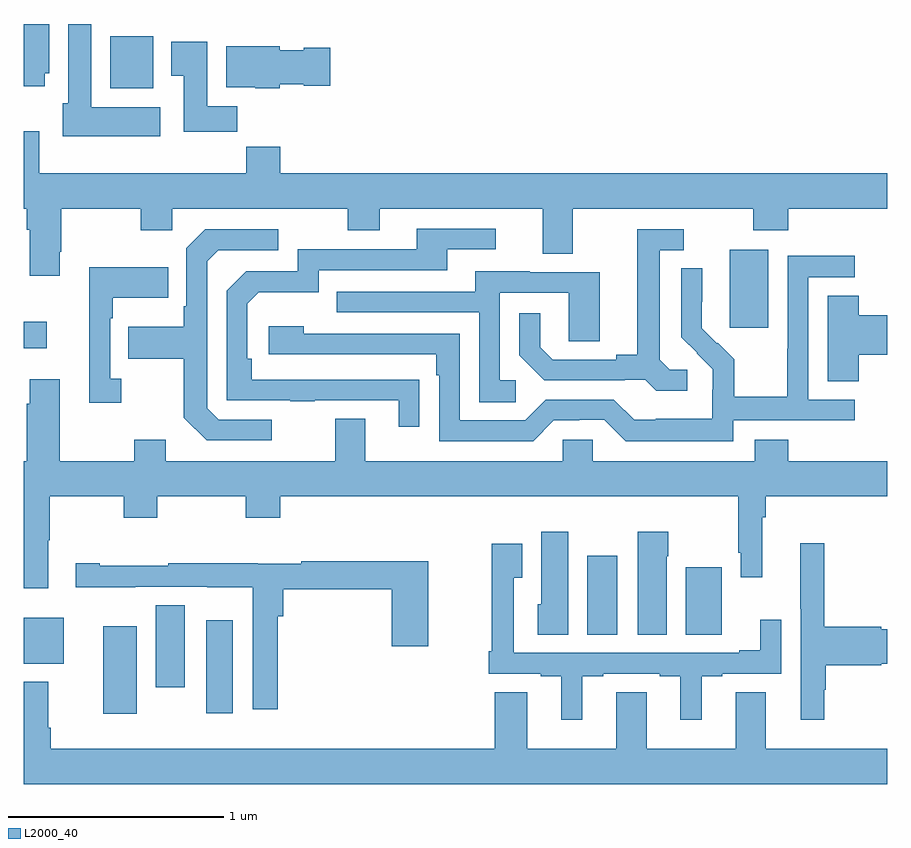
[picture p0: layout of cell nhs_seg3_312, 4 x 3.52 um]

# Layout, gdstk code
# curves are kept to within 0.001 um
import gdstk
lib = gdstk.Library(unit=1e-6, precision=1e-09)
def R(c, l, rs):  # rectangles x0, y0, x1, y1
    for r in rs: c.add(gdstk.rectangle(r[:2], r[2:], *l))
def P(c, l, *ps):  # polygons
    for p in ps: c.add(gdstk.Polygon(p, *l))
L2000_40 = (2000, 40)

nhs_seg3_312 = lib.new_cell('nhs_seg3_312')
R(nhs_seg3_312, L2000_40, [(125.369,737.205,125.524,737.611), (125.846,737.208,125.968,737.638), (125.612,737.328,125.746,737.708), (125,737.438,125.185,737.65), (127.61,737.572,127.75,737.938), (128.066,737.572,128.233,737.884), (125,738.899,125.107,739.021), (128.27,738.993,128.449,739.354), (125.402,740.102,125.599,740.344)])
P(nhs_seg3_312, L2000_40, [(125.632,740.014),(125.314,740.014),(125.314,740.4),(125.207,740.4),(125.207,740.034),(125.18,740.034),(125.18,739.88),(125.632,739.88)],
  [(125.098,740.172),(125.119,740.172),(125.119,740.4),(125,740.4),(125,740.112),(125.098,740.112)],
  [(125.99,740.02),(125.851,740.02),(125.851,740.317),(125.684,740.317),(125.684,740.161),(125.741,740.161),(125.741,739.902),(125.99,739.902)],
  [(126.186,740.12),(126.297,740.12),(126.297,740.113),(126.421,740.113),(126.421,740.291),(126.297,740.291),(126.297,740.278),(126.186,740.278),(126.186,740.296),(125.939,740.296),(125.939,740.108),(126.072,740.108),(126.072,740.102),(126.186,740.102)],
  [(125.167,739.345),(125.175,739.345),(125.175,739.544),(125.542,739.544),(125.542,739.445),(125.688,739.445),(125.688,739.544),(126.502,739.544),(126.502,739.445),(126.649,739.445),(126.649,739.544),(127.403,739.544),(127.403,739.336),(127.543,739.336),(127.543,739.544),(128.38,739.544),(128.38,739.445),(128.54,739.445),(128.54,739.544),(129,739.544),(129,739.708),(126.188,739.708),(126.188,739.832),(126.031,739.832),(126.031,739.708),(125.071,739.708),(125.071,739.903),(125,739.903),(125,739.544),(125.015,739.544),(125.015,739.448),(125.027,739.448),(125.027,739.233),(125.167,739.233)],
  [(126.833,738.752),(126.056,738.753),(126.056,738.85),(126.036,738.85),(126.036,739.104),(126.089,739.157),(126.366,739.157),(126.366,739.26),(126.961,739.26),(126.961,739.356),(127.186,739.356),(127.186,739.452),(126.821,739.452),(126.821,739.356),(126.27,739.356),(126.27,739.254),(126.03,739.254),(125.94,739.164),(125.94,738.657),(126.235,738.657),(126.235,738.652),(126.347,738.652),(126.347,738.657),(126.737,738.657),(126.737,738.534),(126.833,738.534)],
  [(128.074,738.798),(127.992,738.798),(127.945,738.845),(127.945,739.353),(128.056,739.353),(128.056,739.449),(127.841,739.449),(127.841,738.869),(127.745,738.869),(127.745,738.846),(127.45,738.846),(127.393,738.903),(127.393,739.06),(127.296,739.06),(127.296,738.866),(127.412,738.75),(127.784,738.75),(127.784,738.753),(127.878,738.753),(127.93,738.701),(128.074,738.701)],
  [(126.148,738.567),(125.904,738.567),(125.85,738.621),(125.85,739.302),(125.901,739.353),(126.178,739.353),(126.178,739.449),(125.841,739.449),(125.754,739.362),(125.754,739.093),(125.742,739.093),(125.742,738.997),(125.485,738.997),(125.485,738.85),(125.742,738.85),(125.742,738.577),(125.847,738.471),(126.148,738.471)],
  [(128.286,738.564),(128.848,738.564),(128.848,738.66),(128.634,738.66),(128.634,739.227),(128.848,739.227),(128.848,739.326),(128.538,739.326),(128.538,738.896),(128.536,738.896),(128.536,738.673),(128.291,738.673),(128.291,738.847),(128.214,738.924),(128.211,738.921),(128.141,738.992),(128.142,739.268),(128.046,739.268),(128.046,738.95),(128.192,738.802),(128.192,738.705),(128.19,738.705),(128.19,738.571),(127.927,738.571),(127.927,738.567),(127.827,738.567),(127.734,738.66),(127.419,738.66),(127.323,738.564),(127.02,738.564),(127.02,738.966),(126.296,738.966),(126.296,739),(126.135,739),(126.135,738.87),(126.911,738.87),(126.911,738.773),(126.924,738.773),(126.924,738.468),(127.359,738.468),(127.455,738.564),(127.574,738.564),(127.574,738.567),(127.689,738.567),(127.789,738.467),(128.286,738.467)],
  [(125.452,738.758),(125.4,738.758),(125.4,739.037),(125.413,739.037),(125.413,739.133),(125.669,739.133),(125.669,739.273),(125.303,739.273),(125.303,738.645),(125.452,738.645)],
  [(127.279,738.75),(127.206,738.75),(127.206,739.155),(127.524,739.155),(127.524,738.931),(127.669,738.931),(127.669,739.251),(127.345,739.251),(127.345,739.255),(127.091,739.255),(127.091,739.161),(126.451,739.161),(126.451,739.065),(127.11,739.065),(127.11,738.649),(127.279,738.649)],
  [(128.867,738.869),(129,738.869),(129,739.052),(128.867,739.052),(128.867,739.142),(128.723,739.142),(128.723,738.745),(128.867,738.745)],
  [(125.113,738.008),(125.121,738.008),(125.121,738.212),(125.464,738.212),(125.464,738.113),(125.619,738.113),(125.619,738.212),(126.028,738.212),(126.028,738.113),(126.188,738.113),(126.188,738.212),(128.31,738.212),(128.31,737.95),(128.322,737.95),(128.322,737.838),(128.42,737.838),(128.42,738.116),(128.438,738.116),(128.438,738.212),(129,738.212),(129,738.376),(128.54,738.376),(128.54,738.475),(128.387,738.475),(128.387,738.376),(127.635,738.376),(127.635,738.474),(127.497,738.474),(127.497,738.376),(126.583,738.376),(126.583,738.571),(126.443,738.571),(126.443,738.376),(125.659,738.376),(125.659,738.475),(125.512,738.475),(125.512,738.376),(125.167,738.376),(125.167,738.754),(125.027,738.754),(125.027,738.641),(125.015,738.641),(125.015,738.376),(125,738.376),(125,737.787),(125.113,737.787)],
  [(127.978,737.936),(127.986,737.936),(127.986,738.049),(127.844,738.049),(127.844,737.572),(127.978,737.572)],
  [(127.522,738.049),(127.397,738.049),(127.397,737.712),(127.382,737.712),(127.382,737.572),(127.522,737.572)],
  [(128.707,737.316),(128.714,737.316),(128.714,737.431),(128.972,737.431),(128.972,737.438),(129,737.438),(129,737.596),(128.972,737.596),(128.972,737.609),(128.707,737.609),(128.707,737.995),(128.597,737.995),(128.597,737.692),(128.598,737.692),(128.598,737.178),(128.707,737.178)],
  [(127.588,737.379),(127.684,737.379),(127.684,737.391),(127.946,737.391),(127.946,737.379),(128.042,737.379),(128.042,737.178),(128.14,737.178),(128.14,737.379),(128.236,737.379),(128.236,737.391),(128.508,737.391),(128.508,737.641),(128.411,737.641),(128.411,737.5),(128.315,737.5),(128.315,737.487),(127.269,737.487),(127.269,737.836),(127.309,737.836),(127.309,737.992),(127.168,737.992),(127.168,737.494),(127.153,737.494),(127.153,737.391),(127.394,737.391),(127.394,737.379),(127.49,737.379),(127.49,737.178),(127.588,737.178)],
  [(126.176,737.657),(126.203,737.657),(126.203,737.782),(126.704,737.782),(126.704,737.517),(126.874,737.517),(126.874,737.911),(126.286,737.911),(126.286,737.9),(126.084,737.9),(126.084,737.902),(125.669,737.902),(125.669,737.892),(125.353,737.892),(125.353,737.902),(125.241,737.902),(125.241,737.792),(125.516,737.792),(125.516,737.793),(125.85,737.793),(125.85,737.792),(126.06,737.792),(126.06,737.226),(126.176,737.226)],
  [(129,737.044),(128.437,737.044),(128.437,737.306),(128.297,737.306),(128.297,737.044),(127.885,737.044),(127.885,737.306),(127.745,737.306),(127.745,737.044),(127.333,737.044),(127.333,737.306),(127.181,737.306),(127.181,737.044),(125.126,737.044),(125.126,737.14),(125.113,737.14),(125.113,737.353),(125,737.353),(125,736.88),(129,736.88)])

lib.write_gds('nhs_seg3_312.gds')
